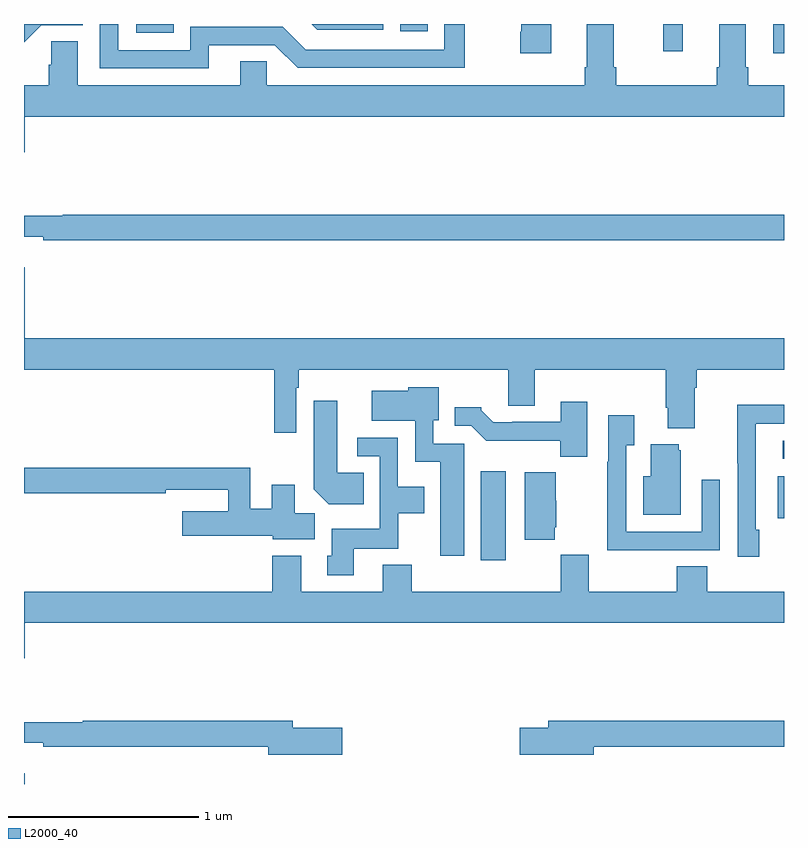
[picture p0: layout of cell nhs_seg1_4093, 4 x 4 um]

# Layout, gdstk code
import gdstk
lib = gdstk.Library(unit=1e-6, precision=1e-09)
def R(c, l, rs):  # rectangles x0, y0, x1, y1
    for r in rs: c.add(gdstk.rectangle(r[:2], r[2:], *l))
def P(c, l, *ps):  # polygons
    for p in ps: c.add(gdstk.Polygon(p, *l))
L2000_40 = (2000, 40)

nhs_seg1_4093 = lib.new_cell('nhs_seg1_4093')
R(nhs_seg1_4093, L2000_40, [(333,568.199,333.004,568.255), (335.405,569.376,335.536,569.845), (336.968,569.599,337,569.818), (336.993,569.91,337,570.006), (336.944,572.046,337,572.199), (336.364,572.055,336.467,572.199), (333.591,572.153,333.789,572.199), (334.98,572.16,335.126,572.199)])
P(nhs_seg1_4093, L2000_40, [(333.004,571.712),(337,571.712),(337,571.876),(336.812,571.876),(336.812,571.972),(336.799,571.972),(336.799,572.197),(336.659,572.197),(336.659,571.972),(336.647,571.972),(336.647,571.876),(336.116,571.876),(336.116,571.972),(336.103,571.972),(336.103,572.199),(335.963,572.199),(335.963,571.972),(335.951,571.972),(335.951,571.876),(334.278,571.876),(334.278,572.003),(334.139,572.003),(334.139,571.876),(333.283,571.876),(333.283,572.108),(333.144,572.108),(333.144,571.985),(333.131,571.985),(333.131,571.876),(333,571.876),(333,571.524),(333.004,571.524)],
  [(334.89,572.199),(334.514,572.199),(334.544,572.169),(334.89,572.169)],
  [(335.776,572.199),(335.618,572.199),(335.618,572.158),(335.611,572.158),(335.611,572.046),(335.776,572.046)],
  [(333.973,572.088),(334.32,572.088),(334.44,571.968),(335.32,571.968),(335.32,572.199),(335.211,572.199),(335.211,572.064),(334.482,572.064),(334.362,572.184),(333.876,572.184),(333.876,572.061),(333.495,572.061),(333.495,572.199),(333.399,572.199),(333.399,571.965),(333.973,571.965)],
  [(333.09,572.193),(333.309,572.193),(333.309,572.199),(333,572.199),(333,572.104)],
  [(337,571.196),(333.203,571.196),(333.203,571.189),(333,571.189),(333,571.079),(333.1,571.079),(333.1,571.06),(337,571.06)],
  [(334.434,570.284),(334.447,570.284),(334.447,570.38),(335.549,570.38),(335.549,570.19),(335.689,570.19),(335.689,570.38),(336.377,570.38),(336.377,570.178),(336.389,570.178),(336.389,570.071),(336.529,570.071),(336.529,570.284),(336.542,570.284),(336.542,570.38),(337,570.38),(337,570.544),(333.004,570.544),(333.004,570.919),(333,570.919),(333,570.38),(334.318,570.38),(334.318,570.048),(334.434,570.048)],
  [(335.317,569.991),(335.154,569.991),(335.154,570.114),(335.182,570.114),(335.182,570.286),(335.022,570.286),(335.022,570.268),(334.83,570.268),(334.83,570.11),(335.058,570.11),(335.058,569.894),(335.192,569.894),(335.192,569.4),(335.317,569.4)],
  [(334.787,569.836),(334.648,569.836),(334.648,570.217),(334.526,570.217),(334.526,569.75),(334.604,569.672),(334.787,569.672)],
  [(335.965,570.211),(335.825,570.211),(335.825,570.105),(335.569,570.105),(335.569,570.102),(335.47,570.102),(335.406,570.166),(335.406,570.181),(335.267,570.181),(335.267,570.084),(335.355,570.084),(335.434,570.006),(335.823,570.006),(335.823,569.921),(335.965,569.921)],
  [(336.871,569.538),(336.852,569.538),(336.852,570.096),(337,570.096),(337,570.194),(336.754,570.194),(336.754,569.887),(336.756,569.887),(336.756,569.394),(336.871,569.394)],
  [(336.347,569.43),(336.663,569.43),(336.663,569.8),(336.567,569.8),(336.567,569.526),(336.171,569.526),(336.171,569.983),(336.211,569.983),(336.211,570.139),(336.075,570.139),(336.075,569.894),(336.07,569.894),(336.07,569.429),(336.347,569.429)],
  [(334.735,569.438),(334.971,569.438),(334.971,569.624),(335.107,569.624),(335.107,569.764),(334.968,569.764),(334.968,570.021),(334.755,570.021),(334.755,569.925),(334.872,569.925),(334.872,569.542),(334.619,569.542),(334.619,569.4),(334.595,569.4),(334.595,569.298),(334.735,569.298)],
  [(336.457,569.955),(336.446,569.955),(336.446,569.986),(336.299,569.986),(336.299,569.818),(336.26,569.818),(336.26,569.615),(336.457,569.615)],
  [(334.531,569.624),(334.426,569.624),(334.426,569.773),(334.304,569.773),(334.304,569.648),(334.191,569.648),(334.191,569.864),(333,569.864),(333,569.728),(333.746,569.728),(333.746,569.748),(334.075,569.748),(334.075,569.635),(333.834,569.635),(333.834,569.506),(334.308,569.506),(334.308,569.486),(334.531,569.486)],
  [(335.794,569.55),(335.8,569.55),(335.8,569.691),(335.798,569.691),(335.798,569.839),(335.636,569.839),(335.636,569.485),(335.794,569.485)],
  [(336.436,569.345),(336.436,569.212),(335.973,569.212),(335.973,569.405),(335.825,569.405),(335.825,569.212),(335.042,569.212),(335.042,569.353),(334.889,569.353),(334.889,569.212),(334.459,569.212),(334.459,569.401),(334.307,569.401),(334.307,569.212),(333,569.212),(333,568.86),(333.004,568.86),(333.004,569.048),(337,569.048),(337,569.212),(336.596,569.212),(336.596,569.345)],
  [(334.675,568.496),(334.414,568.496),(334.414,568.532),(333.31,568.532),(333.31,568.525),(333,568.525),(333,568.415),(333.1,568.415),(333.1,568.396),(334.286,568.396),(334.286,568.354),(334.675,568.354)],
  [(335.998,568.396),(337,568.396),(337,568.532),(335.759,568.532),(335.759,568.496),(335.61,568.496),(335.61,568.354),(335.998,568.354)])

lib.write_gds('nhs_seg1_4093.gds')
